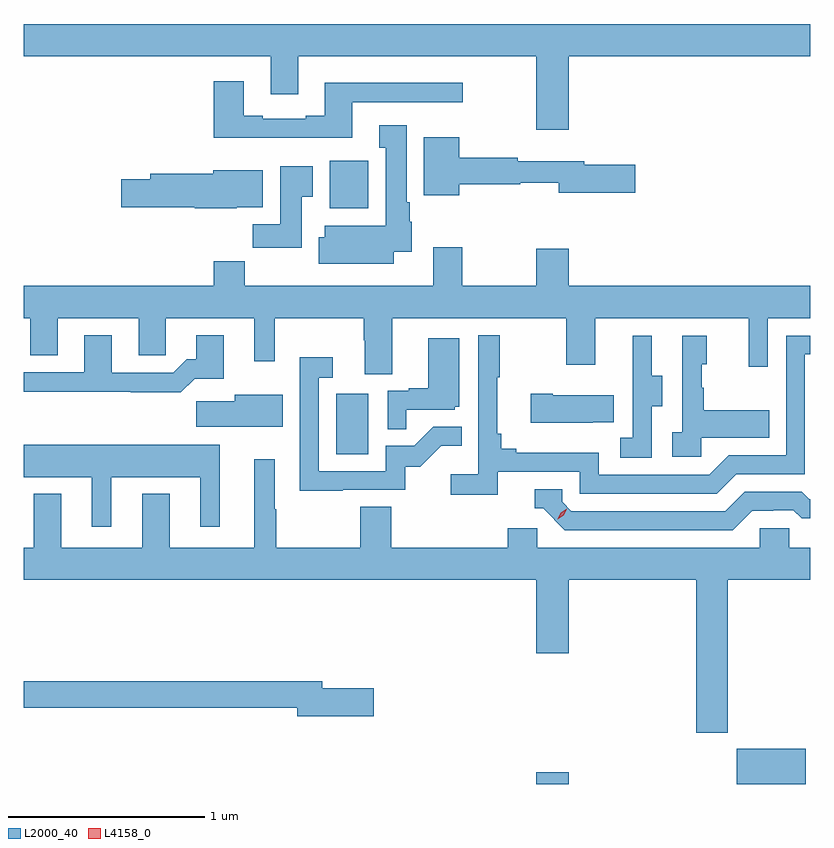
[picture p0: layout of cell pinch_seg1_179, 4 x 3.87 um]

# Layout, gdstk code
import gdstk
lib = gdstk.Library(unit=1e-6, precision=1e-09)
def R(c, l, rs):  # rectangles x0, y0, x1, y1
    for r in rs: c.add(gdstk.rectangle(r[:2], r[2:], *l))
def P(c, l, *ps):  # polygons
    for p in ps: c.add(gdstk.Polygon(p, *l))
L2000_40 = (2000, 40)
L4158_0 = (4158, 0)

pinch_seg1_179 = lib.new_cell('pinch_seg1_179')
R(pinch_seg1_179, L2000_40, [(1112.06,558.685,1112.224,558.745), (1113.08,558.685,1113.43,558.865), (1111.04,560.364,1111.204,560.671), (1111.007,561.614,1111.204,561.856)])
P(pinch_seg1_179, L2000_40, [(1109.452,562.388),(1110.707,562.388),(1110.707,562.194),(1110.847,562.194),(1110.847,562.388),(1112.06,562.388),(1112.06,562.014),(1112.224,562.014),(1112.224,562.388),(1113.452,562.388),(1113.452,562.552),(1109.452,562.552)],
  [(1111.123,562.155),(1111.684,562.155),(1111.684,562.252),(1110.983,562.252),(1110.983,562.084),(1110.887,562.084),(1110.887,562.071),(1110.667,562.071),(1110.667,562.084),(1110.571,562.084),(1110.571,562.261),(1110.419,562.261),(1110.419,561.974),(1111.123,561.974)],
  [(1111.333,561.392),(1111.426,561.392),(1111.426,561.546),(1111.414,561.546),(1111.414,561.646),(1111.399,561.646),(1111.399,562.036),(1111.259,562.036),(1111.259,561.923),(1111.292,561.923),(1111.292,561.526),(1110.983,561.526),(1110.983,561.467),(1110.953,561.467),(1110.953,561.332),(1111.333,561.332)],
  [(1111.666,561.736),(1111.978,561.736),(1111.978,561.744),(1112.174,561.744),(1112.174,561.694),(1112.563,561.694),(1112.563,561.836),(1112.302,561.836),(1112.302,561.853),(1111.964,561.853),(1111.964,561.872),(1111.666,561.872),(1111.666,561.976),(1111.487,561.976),(1111.487,561.68),(1111.666,561.68)],
  [(1110.865,561.673),(1110.922,561.673),(1110.922,561.829),(1110.755,561.829),(1110.755,561.532),(1110.616,561.532),(1110.616,561.414),(1110.865,561.414)],
  [(1110.534,561.62),(1110.667,561.62),(1110.667,561.808),(1110.416,561.808),(1110.416,561.791),(1110.095,561.791),(1110.095,561.761),(1109.946,561.761),(1109.946,561.619),(1110.32,561.619),(1110.32,561.614),(1110.534,561.614)],
  [(1112.224,561.409),(1112.06,561.409),(1112.06,561.22),(1111.683,561.22),(1111.683,561.415),(1111.535,561.415),(1111.535,561.22),(1110.575,561.22),(1110.575,561.344),(1110.419,561.344),(1110.419,561.22),(1109.452,561.22),(1109.452,561.056),(1109.483,561.056),(1109.483,560.866),(1109.623,560.866),(1109.623,561.056),(1110.035,561.056),(1110.035,560.866),(1110.174,560.866),(1110.174,561.056),(1110.623,561.056),(1110.623,560.835),(1110.727,560.835),(1110.727,561.056),(1111.18,561.056),(1111.18,560.944),(1111.187,560.944),(1111.187,560.77),(1111.327,560.77),(1111.327,561.056),(1112.212,561.056),(1112.212,560.817),(1112.359,560.817),(1112.359,561.056),(1113.14,561.056),(1113.14,560.808),(1113.237,560.808),(1113.237,561.056),(1113.452,561.056),(1113.452,561.22),(1112.224,561.22)],
  [(1110.32,560.747),(1110.469,560.747),(1110.469,560.968),(1110.329,560.968),(1110.329,560.845),(1110.28,560.845),(1110.213,560.778),(1109.899,560.778),(1109.899,560.968),(1109.759,560.968),(1109.759,560.781),(1109.452,560.781),(1109.452,560.68),(1109.995,560.68),(1109.995,560.678),(1110.251,560.678)],
  [(1111.862,560.274),(1112.28,560.274),(1112.28,560.163),(1112.977,560.163),(1113.076,560.262),(1113.426,560.262),(1113.426,560.871),(1113.452,560.871),(1113.452,560.967),(1113.33,560.967),(1113.33,560.358),(1113.039,560.358),(1112.94,560.259),(1112.376,560.259),(1112.376,560.371),(1111.957,560.371),(1111.957,560.39),(1111.88,560.39),(1111.88,560.467),(1111.861,560.467),(1111.861,560.755),(1111.873,560.755),(1111.873,560.968),(1111.764,560.968),(1111.764,560.26),(1111.623,560.26),(1111.623,560.158),(1111.862,560.158)],
  [(1112.898,560.447),(1113.245,560.447),(1113.245,560.587),(1112.911,560.587),(1112.911,560.702),(1112.901,560.702),(1112.901,560.82),(1112.926,560.82),(1112.926,560.965),(1112.802,560.965),(1112.802,560.474),(1112.751,560.474),(1112.751,560.349),(1112.898,560.349)],
  [(1112.646,560.608),(1112.701,560.608),(1112.701,560.763),(1112.647,560.763),(1112.647,560.965),(1112.549,560.965),(1112.549,560.751),(1112.55,560.751),(1112.55,560.447),(1112.487,560.447),(1112.487,560.344),(1112.646,560.344)],
  [(1111.397,560.589),(1111.644,560.589),(1111.644,560.604),(1111.666,560.604),(1111.666,560.953),(1111.508,560.953),(1111.508,560.698),(1111.409,560.698),(1111.409,560.685),(1111.302,560.685),(1111.302,560.491),(1111.397,560.491)],
  [(1111.073,560.181),(1111.392,560.181),(1111.392,560.298),(1111.468,560.298),(1111.575,560.405),(1111.679,560.405),(1111.679,560.504),(1111.535,560.504),(1111.437,560.406),(1111.293,560.406),(1111.293,560.277),(1110.951,560.277),(1110.951,560.751),(1111.024,560.751),(1111.024,560.857),(1110.855,560.857),(1110.855,560.176),(1111.073,560.176)],
  [(1112.345,560.525),(1112.453,560.525),(1112.453,560.662),(1112.143,560.662),(1112.143,560.67),(1112.031,560.67),(1112.031,560.522),(1112.345,560.522)],
  [(1110.769,560.665),(1110.524,560.665),(1110.524,560.633),(1110.33,560.633),(1110.33,560.504),(1110.769,560.504)],
  [(1109.896,560.246),(1110.35,560.246),(1110.35,559.995),(1110.448,559.995),(1110.448,560.41),(1109.452,560.41),(1109.452,560.246),(1109.798,560.246),(1109.798,559.995),(1109.896,559.995)],
  [(1113.452,559.888),(1113.345,559.888),(1113.345,559.986),(1113.195,559.986),(1113.195,559.888),(1112.064,559.888),(1112.064,559.986),(1111.913,559.986),(1111.913,559.888),(1111.322,559.888),(1111.322,560.096),(1111.162,560.096),(1111.162,559.888),(1110.737,559.888),(1110.737,560.084),(1110.727,560.084),(1110.727,560.338),(1110.623,560.338),(1110.623,559.888),(1110.193,559.888),(1110.193,560.161),(1110.053,560.161),(1110.053,559.888),(1109.641,559.888),(1109.641,560.161),(1109.501,560.161),(1109.501,559.888),(1109.452,559.888),(1109.452,559.724),(1112.06,559.724),(1112.06,559.35),(1112.224,559.35),(1112.224,559.724),(1112.873,559.724),(1112.873,558.945),(1113.033,558.945),(1113.033,559.724),(1113.452,559.724)],
  [(1113.157,560.076),(1113.264,560.076),(1113.264,560.079),(1113.367,560.079),(1113.409,560.037),(1113.452,560.037),(1113.452,560.133),(1113.448,560.133),(1113.409,560.172),(1113.12,560.172),(1113.021,560.073),(1112.238,560.073),(1112.19,560.121),(1112.19,560.184),(1112.051,560.184),(1112.051,560.088),(1112.094,560.088),(1112.205,559.977),(1113.058,559.977)],
  [(1111.231,559.172),(1110.97,559.172),(1110.97,559.208),(1109.452,559.208),(1109.452,559.072),(1110.842,559.072),(1110.842,559.03),(1111.231,559.03)])
P(pinch_seg1_179, L4158_0, [(1112.169,560.033),(1112.169,560.033),(1112.184,560.066),(1112.215,560.085),(1112.215,560.085),(1112.215,560.085),(1112.199,560.053),(1112.169,560.033)])

lib.write_gds('pinch_seg1_179.gds')
